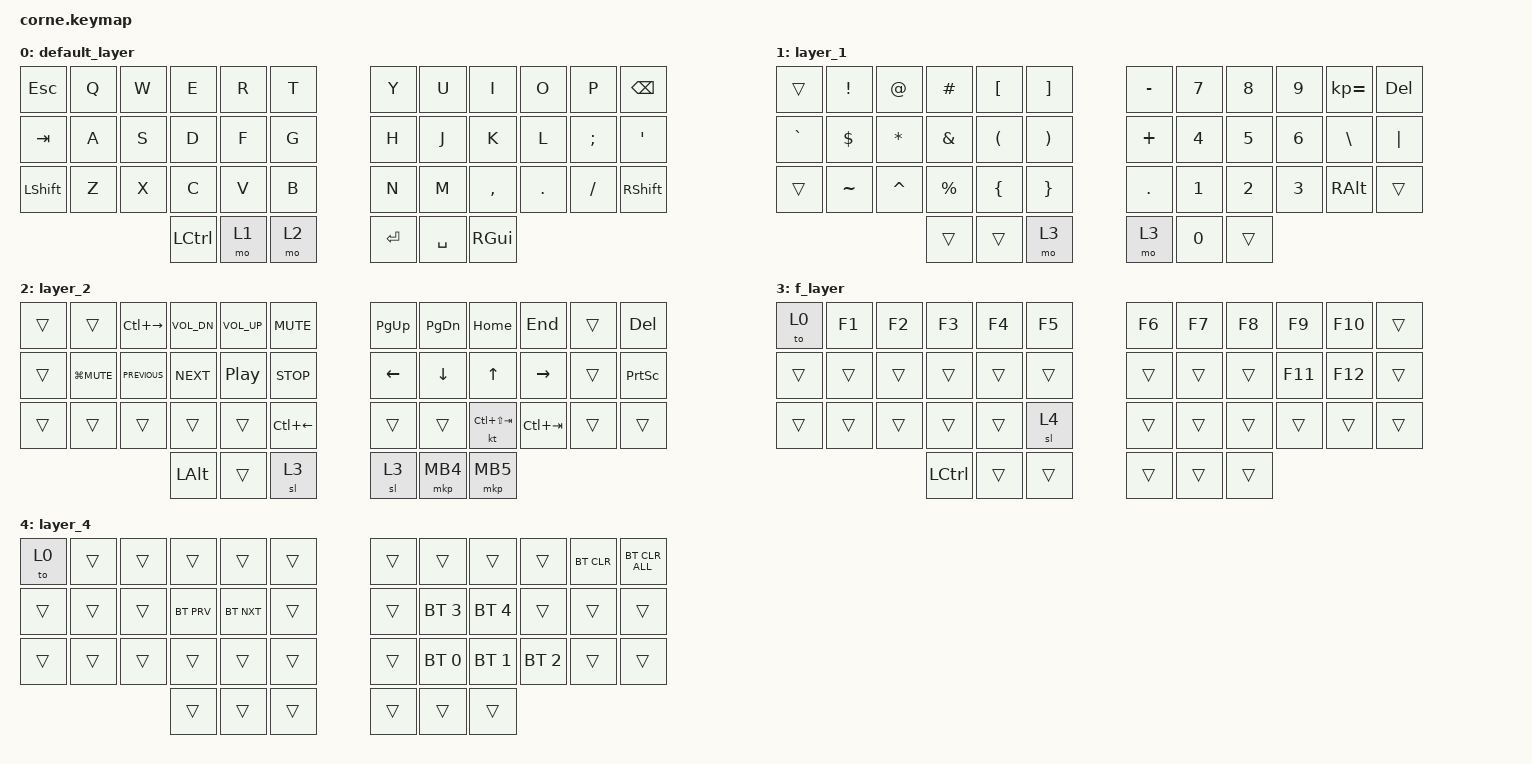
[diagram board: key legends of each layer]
/*
 * Copyright (c) 2020 The ZMK Contributors
 *
 * SPDX-License-Identifier: MIT
 */

#include <behaviors.dtsi>
#include <dt-bindings/zmk/bt.h>
#include <dt-bindings/zmk/keys.h>
#include <dt-bindings/zmk/pointing.h>

/ {
    keymap {
        compatible = "zmk,keymap";

        default_layer {
            bindings = <
&kp ESCAPE      &kp Q  &kp W  &kp E             &kp R  &kp T    &kp Y      &kp U      &kp I      &kp O    &kp P     &kp BSPC
&kp TAB         &kp A  &kp S  &kp D             &kp F  &kp G    &kp H      &kp J      &kp K      &kp L    &kp SEMI  &kp SQT
&kp LEFT_SHIFT  &kp Z  &kp X  &kp C             &kp V  &kp B    &kp N      &kp M      &kp COMMA  &kp DOT  &kp FSLH  &kp RIGHT_SHIFT
                              &kp LEFT_CONTROL  &mo 1  &mo 2    &kp ENTER  &kp SPACE  &kp RGUI
            >;
        };

        layer_1 {
            bindings = <
&trans     &kp EXCL    &kp AT_SIGN   &kp HASH       &kp LEFT_BRACKET      &kp RIGHT_BRACKET        &kp MINUS   &kp N7  &kp N8  &kp N9  &kp KP_EQUAL   &kp DELETE
&kp GRAVE  &kp DOLLAR  &kp ASTERISK  &kp AMPERSAND  &kp LEFT_PARENTHESIS  &kp RIGHT_PARENTHESIS    &kp PLUS    &kp N4  &kp N5  &kp N6  &kp BACKSLASH  &kp PIPE
&trans     &kp TILDE   &kp CARET     &kp PERCENT    &kp LEFT_BRACE        &kp RIGHT_BRACE          &kp PERIOD  &kp N1  &kp N2  &kp N3  &kp RIGHT_ALT  &trans
                                     &trans         &trans                &mo 3                    &mo 3       &kp N0  &trans
            >;
        };

        layer_2 {
            bindings = <
&trans  &trans          &kp LC(RIGHT_ARROW)  &kp C_VOL_DN  &kp C_VOLUME_UP   &kp K_MUTE            &kp PAGE_UP     &kp PAGE_DOWN   &kp HOME         &kp END          &trans  &kp DEL
&trans  &kp LG(K_MUTE)  &kp C_PREVIOUS       &kp C_NEXT    &kp C_PLAY_PAUSE  &kp C_STOP            &kp LEFT_ARROW  &kp DOWN_ARROW  &kp UP_ARROW     &kp RIGHT_ARROW  &trans  &kp PRINTSCREEN
&trans  &trans          &trans               &trans        &trans            &kp LC(LEFT_ARROW)    &trans          &trans          &kt LC(LS(TAB))  &kp LC(TAB)      &trans  &trans
                                             &kp LEFT_ALT  &trans            &sl 3                 &sl 3           &mkp MB4        &mkp MB5
            >;
        };

        f_layer {
            bindings = <
&to 0   &kp F1  &kp F2  &kp F3            &kp F4  &kp F5    &kp F6  &kp F7  &kp F8  &kp F9   &kp F10  &trans
&trans  &trans  &trans  &trans            &trans  &trans    &trans  &trans  &trans  &kp F11  &kp F12  &trans
&trans  &trans  &trans  &trans            &trans  &sl 4     &trans  &trans  &trans  &trans   &trans   &trans
                        &kp LEFT_CONTROL  &trans  &trans    &trans  &trans  &trans
            >;
        };

        layer_4 {
            bindings = <
&to 0   &trans  &trans  &trans      &trans      &trans    &trans  &trans        &trans        &trans        &bt BT_CLR  &bt BT_CLR_ALL
&trans  &trans  &trans  &bt BT_PRV  &bt BT_NXT  &trans    &trans  &bt BT_SEL 3  &bt BT_SEL 4  &trans        &trans      &trans
&trans  &trans  &trans  &trans      &trans      &trans    &trans  &bt BT_SEL 0  &bt BT_SEL 1  &bt BT_SEL 2  &trans      &trans
                        &trans      &trans      &trans    &trans  &trans        &trans
            >;
        };
    };
};

&led_strip { chain-length = <27>; };
